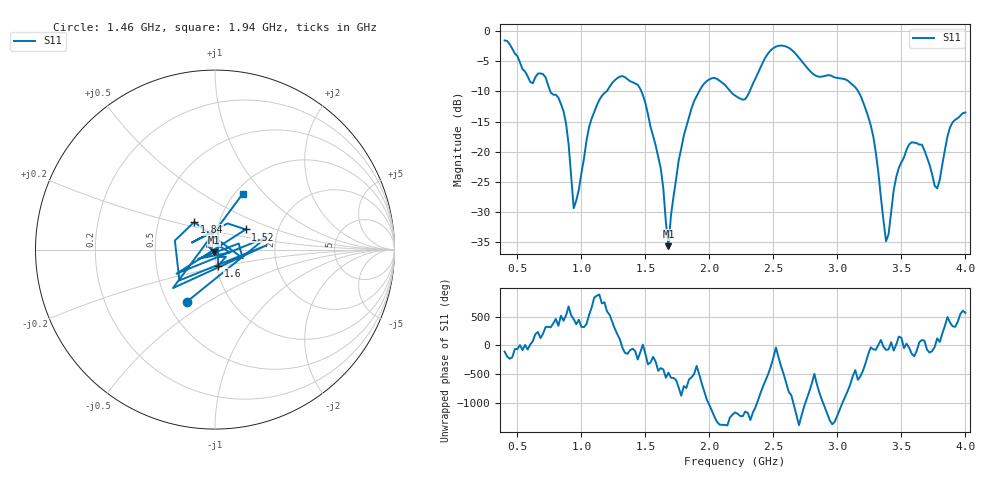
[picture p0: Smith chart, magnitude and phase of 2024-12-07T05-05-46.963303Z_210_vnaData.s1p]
!Created with skrf (http://scikit-rf.org).
# Hz S RI R 50.0
!freq ReS11 ImS11
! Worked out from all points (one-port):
!   181 points, 400 MHz to 4 GHz, reference 50 ohm
!   lowest |S11| = -35.6 dB at 1.68 GHz (marker M1), VSWR 1.03, Z = 49.3 - j1.51 ohm
!   |S11| at or under -10 dB: 757.1 MHz to 1.196 GHz (438.5 MHz wide, 44.9 % of centre); 1.469 GHz to 1.919 GHz (450.5 MHz wide, 26.6 % of centre); 3.163 GHz to end of sweep (the widest 3 of 4)
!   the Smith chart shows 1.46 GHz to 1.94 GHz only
!   S11 on the Smith chart (normalised r, x): 1.46 GHz: 0.62, -0.41; 1.52 GHz: 1.37, +0.32; 1.6 GHz: 1.02, -0.18; 1.84 GHz: 0.76, +0.24; 1.94 GHz: 1.08, +0.76
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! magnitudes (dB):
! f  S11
! 400 MHz  -1.6
! 700 MHz  -7.1
! 860 MHz  -13.2
! 900 MHz  -18.7
! 940 MHz  -29.3
! 1.08 GHz  -14.5
! 1.3 GHz  -7.6
! 1.46 GHz  -9.6
! 1.52 GHz  -13.8
! 1.6 GHz  -20.8
! 1.64 GHz  -26.1
! 1.68 GHz  -35.6
! 1.76 GHz  -21.4
! 1.84 GHz  -14.3
! 1.94 GHz  -9.2
! 2.2 GHz  -10.7
! 2.28 GHz  -11.3
! 2.5 GHz  -2.8
! 2.66 GHz  -3.5
! 3.1 GHz  -8.6
! 3.28 GHz  -17.4
! 3.38 GHz  -34.8
! 3.46 GHz  -24.1
! 3.56 GHz  -18.8
! 3.66 GHz  -18.8
! 3.78 GHz  -26.0
! 3.88 GHz  -15.9
! 4 GHz  -13.5
